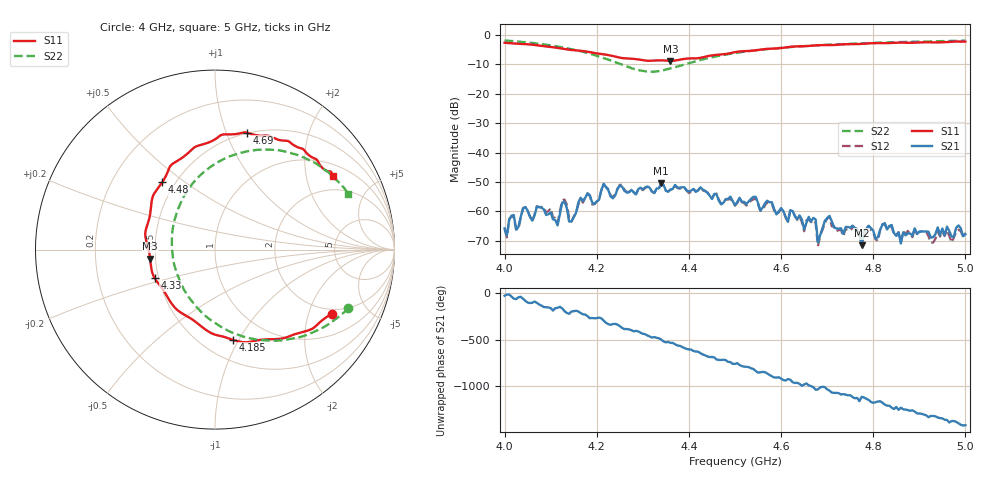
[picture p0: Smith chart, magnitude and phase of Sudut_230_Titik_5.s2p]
# Hz S RI R 50
! CMT, C1220, 16058040, 17.2.0/1
! Date: 15/08/2018 12:22:24
! Data: Format (Calibration Info)
! Freq  S11: Re/Im (F2)  S21: Re/Im (F2)  S12: Re/Im (F2)  S22: Re/Im (F2)
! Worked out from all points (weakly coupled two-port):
!   201 points, 4 GHz to 5 GHz, reference 50 ohm
!   highest |S21| = -50.44 dB at 4.34 GHz (marker M1); lowest = -71.6 dB at 4.775 GHz (marker M2)
!   lowest |S11| = -8.8 dB at 4.36 GHz (marker M3), VSWR 2.15, Z = 23.4 - j2.7 ohm
!   |S11| at or under -10 dB: nowhere
!   |S22| runs from -12.5 to -1.8 dB; largest |S21 - S12| = 0.0002
!   S11 on the Smith chart (normalised r, x): 4 GHz: 1.81, -2.85; 4.185 GHz: 0.69, -0.95; 4.33 GHz: 0.48, -0.17; 4.48 GHz: 0.43, +0.41; 4.69 GHz: 0.49, +1.18; 5 GHz: 1.40, +2.88
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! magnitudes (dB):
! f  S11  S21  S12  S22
! 4 GHz  -2.6  -65.8  -66.2  -1.8
! 4.045 GHz  -3.1  -58.5  -58.6  -2.4
! 4.115 GHz  -4.3  -64.8  -64.0  -3.9
! 4.13 GHz  -4.7  -56.9  -56.0  -4.3
! 4.145 GHz  -5.1  -63.5  -63.5  -4.8
! 4.17 GHz  -5.4  -56.5  -57.0  -5.7
! 4.185 GHz  -5.8  -54.5  -54.8  -6.3
! 4.33 GHz  -8.6  -52.2  -52.3  -12.4
! 4.335 GHz  -8.6  -52.2  -52.2  -12.3
! 4.34 GHz  -8.6  -50.4  -50.6  -12.1
! 4.36 GHz  -8.8  -52.6  -52.6  -11.4
! 4.48 GHz  -6.4  -55.8  -55.9  -6.6
! 4.5 GHz  -5.8  -58.0  -58.1  -6.1
! 4.67 GHz  -3.6  -62.2  -63.0  -3.5
! 4.68 GHz  -3.5  -70.5  -71.9  -3.5
! 4.69 GHz  -3.4  -65.8  -66.3  -3.4
! 4.755 GHz  -3.1  -64.9  -65.7  -2.9
! 4.775 GHz  -3.0  -71.6  -71.0  -2.8
! 4.79 GHz  -2.8  -64.9  -65.0  -2.7
! 4.835 GHz  -2.7  -65.0  -65.0  -2.5
! 4.86 GHz  -2.6  -71.0  -70.6  -2.4
! 5 GHz  -2.2  -67.8  -67.4  -1.9
